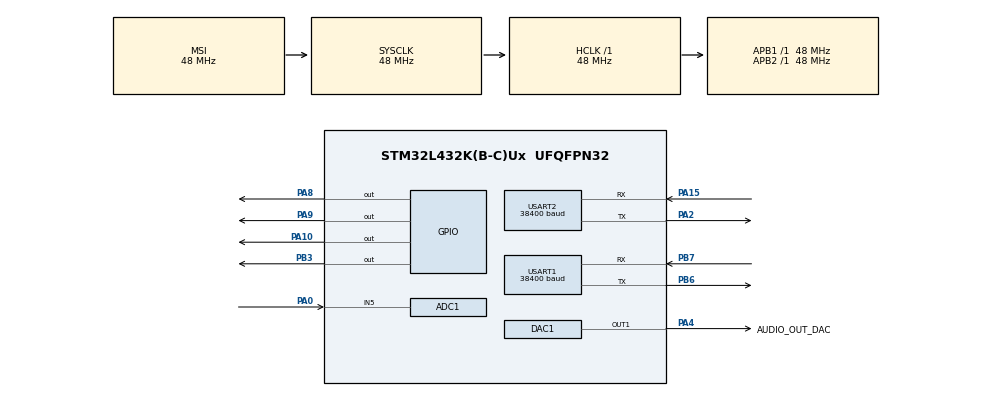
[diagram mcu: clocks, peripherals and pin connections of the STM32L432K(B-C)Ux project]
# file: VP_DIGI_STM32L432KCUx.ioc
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ADC1.Channel-0\#ChannelRegularConversion=ADC_CHANNEL_5
ADC1.ClockPrescaler=ADC_CLOCK_ASYNC_DIV6
ADC1.ContinuousConvMode=ENABLE
ADC1.DMAContinuousRequests=ENABLE
ADC1.NbrOfConversionFlag=1
ADC1.OffsetNumber-0\#ChannelRegularConversion=ADC_OFFSET_NONE
ADC1.Rank-0\#ChannelRegularConversion=1
ADC1.SamplingTime-0\#ChannelRegularConversion=ADC_SAMPLETIME_2CYCLES_5
ADC1.master=1
DAC1.DAC_Trigger-DAC_OUT1=DAC_TRIGGER_T6_TRGO
Dma.ADC1.0.Direction=DMA_PERIPH_TO_MEMORY
Dma.ADC1.0.Instance=DMA1_Channel1
Dma.ADC1.0.MemDataAlignment=DMA_MDATAALIGN_HALFWORD
Dma.ADC1.0.MemInc=DMA_MINC_ENABLE
Dma.ADC1.0.Mode=DMA_CIRCULAR
Dma.ADC1.0.PeriphDataAlignment=DMA_PDATAALIGN_HALFWORD
Dma.ADC1.0.PeriphInc=DMA_PINC_DISABLE
Dma.ADC1.0.Priority=DMA_PRIORITY_LOW
Dma.Request0=ADC1
Mcu.Family=STM32L4
Mcu.Name=STM32L432K(B-C)Ux
Mcu.Package=UFQFPN32
NVIC.DMA1_Channel1_IRQn=true\:0\:0\:false\:false\:true\:false\:true\:true
NVIC.PriorityGroup=NVIC_PRIORITYGROUP_4
NVIC.USART1_IRQn=true\:0\:0\:false\:false\:true\:true\:true\:true
NVIC.USART2_IRQn=true\:0\:0\:false\:false\:true\:true\:true\:true
PA0.Signal=ADCx_IN5
PA10.Signal=GPIO_Output
PA13\ (JTMS-SWDIO).Mode=Serial_Wire
PA13\ (JTMS-SWDIO).Signal=SYS_JTMS-SWDIO
PA14\ (JTCK-SWCLK).Mode=Serial_Wire
PA14\ (JTCK-SWCLK).Signal=SYS_JTCK-SWCLK
PA15\ (JTDI).Mode=Asynchronous
PA15\ (JTDI).Signal=USART2_RX
PA2.Mode=Asynchronous
PA2.Signal=USART2_TX
PA4.GPIO_Label=AUDIO_OUT_DAC
PA4.Signal=COMP_DAC11_group
PA8.Signal=GPIO_Output
PA9.Signal=GPIO_Output
PB3\ (JTDO-TRACESWO).Signal=GPIO_Output
PB6.Mode=Asynchronous
PB6.Signal=USART1_TX
PB7.Mode=Asynchronous
PB7.Signal=USART1_RX
ProjectManager.HeapSize=0x200
ProjectManager.StackSize=0x400
ProjectManager.TargetToolchain=STM32CubeIDE
RCC.ADCCLockSelection=RCC_ADCCLKSOURCE_SYSCLK
RCC.ADCFreq_Value=48000000
RCC.AHBFreq_Value=48000000
RCC.APB1Freq_Value=48000000
RCC.APB1TimFreq_Value=48000000
RCC.APB2Freq_Value=48000000
RCC.APB2TimFreq_Value=48000000
RCC.CortexFreq_Value=48000000
RCC.HCLKFreq_Value=48000000
RCC.HSE_VALUE=8000000
RCC.HSI48_VALUE=48000000
RCC.HSI_VALUE=16000000
RCC.LSE_VALUE=32768
RCC.MSIClockRange=RCC_MSIRANGE_11
RCC.MSI_VALUE=48000000
RCC.PLLSAI1N=16
RCC.PLLSourceVirtual=RCC_PLLSOURCE_HSI
RCC.SYSCLKFreq_VALUE=48000000
RCC.USBFreq_Value=128000000
RCC.VCOOutputFreq_Value=128000000
SH.ADCx_IN5.0=ADC1_IN5,IN5-Single-Ended
SH.COMP_DAC11_group.0=DAC1_OUT1,DAC_OUT1
USART1.BaudRate=38400
USART1.VirtualMode-Asynchronous=VM_ASYNC
USART2.BaudRate=38400
USART2.VirtualMode-Asynchronous=VM_ASYNC
VP_TIM6_VS_ClockSourceINT.Mode=Enable_Timer
VP_TIM7_VS_ClockSourceINT.Mode=Enable_Timer
board=custom

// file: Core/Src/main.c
/* USER CODE BEGIN Header */
/**
  ******************************************************************************
  * @file           : main.c
  * @brief          : Main program body
  ******************************************************************************
  * @attention
  *
  * Copyright (c) 2023 STMicroelectronics.
  * All rights reserved.
  *
  * This software is licensed under terms that can be found in the LICENSE file
  * in the root directory of this software component.
  * If no LICENSE file comes with this software, it is provided AS-IS.
  *
  ******************************************************************************
  */
/* USER CODE END Header */
#include "main.h"

/* USER CODE BEGIN Includes */

#include <string.h>
#include <stdint.h>

#include "drivers/modem.h"
#include "ax25.h"
#include "drivers/uart.h"
#include "drivers/systick.h"
#include "stm32l4xx.h"
#include "digipeater.h"
#include "common.h"
#include "drivers/watchdog.h"
#include "beacon.h"
#include "terminal.h"
#include "config.h"

/* USER CODE END Includes */

ADC_HandleTypeDef hadc1;
DMA_HandleTypeDef hdma_adc1;

DAC_HandleTypeDef hdac1;

TIM_HandleTypeDef htim6;
TIM_HandleTypeDef htim7;

UART_HandleTypeDef huart1;
UART_HandleTypeDef huart2;

void SystemClock_Config(void);
static void MX_GPIO_Init(void);
static void MX_DMA_Init(void);
static void MX_USART2_UART_Init(void);
static void MX_ADC1_Init(void);
static void MX_DAC1_Init(void);
static void MX_USART1_UART_Init(void);
static void MX_TIM6_Init(void);
static void MX_TIM7_Init(void);

/* USER CODE BEGIN 0 */

/**
 * \brief Handle received frame from RF
 */
void handleFrame(void)
{
	uint8_t modemReceived = ax25.frameReceived; //store states
	ax25.frameReceived = 0; //clear flag

	uint8_t bufto[FRAMELEN + 30], buf[FRAMELEN]; //buffer for raw frames to TNC2 frames conversion
	uint16_t bufidx = 0;
	uint16_t i = ax25.frameBufRd;

	while(i != ax25.frameBufWr)
	{
		if(ax25.frameBuf[i] != 0xFF)
		{
			buf[bufidx++] = ax25.frameBuf[i++]; //store frame in temporary buffer
		}
		else
		{
			break;
		}
		i %= (FRAMEBUFLEN);
	}

	ax25.frameBufRd = ax25.frameBufWr;

	for(i = 0; i < (bufidx); i++)
	{
		if(buf[i] & 1)
			break; //look for path end bit
	}

	SendKiss(buf, bufidx); //send KISS frames if ports available

	if(((USBmode == MODE_MONITOR) || (uart1.mode == MODE_MONITOR) || (uart2.mode == MODE_MONITOR)))
	{
		common_toTNC2(buf, bufidx, bufto); //convert to TNC2 format

		//in general, the RMS of the frame is calculated (excluding preamble!)
		//it it calculated from samples ranging from -4095 to 4095 (amplitude of 4095)
		//that should give a RMS of around 2900 for pure sine wave
		//for pure square wave it should be equal to the amplitude (around 4095)
		//real data contains lots of imperfections (especially mark/space amplitude imbalance) and this value is far smaller than 2900 for standard frames
		//division by 9 was selected by trial and error to provide a value of 100(%) when the input signal had peak-peak voltage of 3.3V
		//this probably should be done in a different way, like some peak amplitude tracing
		ax25.sLvl /= 9;

		if(ax25.sLvl > 100)
		{
			term_sendMonitor((uint8_t*)"\r\nInput level too high! Please reduce so most stations are around 50-70%.\r\n", 0);
		}

		if(ax25.sLvl < 10)
		{
			term_sendMonitor((uint8_t*)"\r\nInput level too low! Please increase so most stations are around 50-70%.\r\n", 0);
		}

		term_sendMonitor((uint8_t*)"(AX.25) Frame received [", 0); //show which modem received the frame: [FP] (flat and preemphasized), [FD] (flat and deemphasized - in flat audio input mode)
																   //[F_] (only flat), [_P] (only preemphasized) or [_D] (only deemphasized - in flat audio input mode)
		uint8_t t[2] = {0};
		if(modemReceived & 1)
		{
			t[0] = 'F';
		}
		else
			t[0] = '_';
		if(modemReceived & 2)
		{
			if(afskCfg.flatAudioIn)
				t[1] = 'D';
			else
				t[1] = 'P';
		}
		else
			t[1] = '_';

		term_sendMonitor(t, 2);
		term_sendMonitor((uint8_t*)"], signal level ", 0);
		term_sendMonitorNumber(ax25.sLvl);
		term_sendMonitor((uint8_t*)"%: ", 0);

		term_sendMonitor(bufto, 0);
		term_sendMonitor((uint8_t*)"\r\n", 0);

	}

	if(digi.enable)
	{
		Digi_digipeat(buf, bufidx);
	}

}

/* USER CODE END 0 */

int main(void)
{

  /* MCU Configuration--------------------------------------------------------*/

  /* Reset of all peripherals, Initializes the Flash interface and the Systick. */
  HAL_Init();

  /* Configure the system clock */
  SystemClock_Config();

  /* USER CODE BEGIN SysInit */

  // no idea what this does, but it makes HAL_Delay(250) take 1000ms
#if SET_THIS_DEFINE_MACRO_TO_ENABLE_SYSTICK_AND_BREAK_THE_PROJECT_LMAO // a simple `#if 0` doesn't do my hours of debugging justice
  SysTick_init();
#endif
  // TODO: confirm this isn't important

#ifdef FEATURE_USB_SUPPORT
  //force usb re-enumeration after reset
  RCC->APB2ENR |= RCC_APB2ENR_IOPAEN; //pull D+ to ground for a moment
  GPIOA->CRH |= GPIO_CRH_MODE12_1;
  GPIOA->CRH &= ~GPIO_CRH_CNF12;
  GPIOA->BSRR = GPIO_BSRR_BR12;
  uint32_t t = ticks + 10;
  while(t > ticks);;
  GPIOA->CRH &= ~GPIO_CRH_MODE12;
  GPIOA->CRH |= GPIO_CRH_CNF12_0;

  #endif /* FEATURE_USB_SUPPORT */

  /* USER CODE END SysInit */

  /* Initialize all configured peripherals */
  MX_GPIO_Init();
  MX_DMA_Init();
  MX_USART2_UART_Init();
  MX_ADC1_Init();
  MX_DAC1_Init();
  MX_USART1_UART_Init();
  MX_TIM6_Init();
  MX_TIM7_Init();
  /* USER CODE BEGIN 2 */

	Wdog_init(); //initialize watchdog

	//set some initial values in case there is no configuration saved in memory
	uart1.baudrate = 38400;
	uart2.baudrate = 38400;
	afskCfg.usePWM = 1; // 1 = use PWM, 0 = use R2R
	afskCfg.flatAudioIn = 0;
	ax25Cfg.quietTime = 300;
	ax25Cfg.txDelayLength = 300;
	ax25Cfg.txTailLength = 30;
	digi.dupeTime = 30;

#if 0
	Config_read();

	Ax25_init();
#endif

#if 0
	uart_init(&uart1, USART1, uart1.baudrate);
	uart_init(&uart2, USART2, uart2.baudrate);
#endif

	// added: simple print UART
	uint8_t msg1[255];
	sprintf(msg1, "Booting vp-digi on L432.\n");
	HAL_UART_Transmit(&huart2, msg1, strlen(msg1), 100);

	uart_config(&uart1, 1); // disabled within
	uart_config(&uart2, 1); // disabled within

	HAL_GPIO_WritePin(GPIOA, GPIO_PIN_8, GPIO_PIN_SET); // FIXME remove this section
	HAL_Delay(1000);
	HAL_GPIO_WritePin(GPIOA, GPIO_PIN_8, GPIO_PIN_RESET); // FIXME
	HAL_Delay(1000);

#if 0
	Afsk_init();
	Beacon_init();
#endif

	autoResetTimer = autoReset * 360000;

	// force enable interupts (from the uart.c file)
	// USART2->CR1 |= USART_CR1_RXNEIE | USART_CR1_TE | USART_CR1_RE | USART_CR1_UE | USART_CR1_IDLEIE;
	NVIC_SetPriority(USART2_IRQn, 2);
	NVIC_EnableIRQ(USART2_IRQn);

  /* USER CODE END 2 */

  /* Infinite loop */
  /* USER CODE BEGIN WHILE */
  // static uint32_t usbKissTimer = 0;
  uint16_t main_loop_counter = 0;

  while (1)
  {

    /* USER CODE END WHILE */

    /* USER CODE BEGIN 3 */

	  HAL_GPIO_WritePin(GPIOB, GPIO_PIN_3, GPIO_PIN_SET); // flash LED
	  HAL_Delay(250);
	  HAL_GPIO_WritePin(GPIOB, GPIO_PIN_3, GPIO_PIN_RESET); // flash LED
	  HAL_Delay(250);

	  // added: simple print UART
	  	uint8_t msg1[255];
	  	sprintf(msg1, "Running vp-digi loop on L432, #%d\n", main_loop_counter++);
	  	HAL_UART_Transmit(&huart2, msg1, strlen(msg1), 100);

#if 0
		  uint8_t rxBuffer[1];
		    HAL_UART_Receive(&huart2, rxBuffer, 1, HAL_MAX_DELAY);
		    HAL_UART_Transmit(&huart2, rxBuffer, 1, HAL_MAX_DELAY);
		    rxBuffer[0] = '!';
		    HAL_UART_Transmit(&huart2, rxBuffer, 1, HAL_MAX_DELAY); // print back another exclam for good measure
#endif

    	  Wdog_reset(); // core crashes if you don't call this function; executes in no time

#if 0
	  if(ax25.frameReceived)
		  handleFrame();

	  Digi_viscousRefresh(); //refresh viscous-delay buffers

	  Ax25_transmitBuffer(); //transmit buffer (will return if nothing to be transmitted)

	  Ax25_transmitCheck(); //check for pending transmission request
#endif

#ifdef FEATURE_USB_SUPPORT
	  if(USBint) //USB "interrupt"
	  {
		  USBint = 0; //clear

		  if(USBmode == MODE_KISS) //is USB in KISS mode?
			  usbKissTimer = ticks + 500; //set timeout to 5s

		  term_handleSpecial(TERM_USB); //handle special characters (e.g. backspace)
		  if((usbcdcdata[0] == 0xc0) && /*(usbcdcdata[1] == 0x00) &&*/ (usbcdcdata[usbcdcidx - 1] == 0xc0)) //probably a KISS frame
		  {
			  USBrcvd = DATA_KISS;
			  usbKissTimer = 0;
		  }

		  if(((usbcdcdata[usbcdcidx - 1] == '\r') || (usbcdcdata[usbcdcidx - 1] == '\n'))) //proabably a command
		  {
			  USBrcvd = DATA_TERM;
			  usbKissTimer = 0;
		  }
	  }

	  if((usbKissTimer > 0) && (ticks >= usbKissTimer)) //USB KISS timer timeout
	  {
		  usbcdcidx = 0;
		  memset(usbcdcdata, 0, UARTBUFLEN);
		  usbKissTimer = 0;
	  }

	  if(USBrcvd != DATA_NOTHING)
	  {
		  term_parse(usbcdcdata, usbcdcidx, TERM_USB, USBrcvd, USBmode);
		  USBrcvd = DATA_NOTHING;
		  usbcdcidx = 0;
		  memset(usbcdcdata, 0, UARTBUFLEN);
	  }
#endif /* FEATURE_USB_SUPPORT */
#if 0
	  if(uart1.rxflag != DATA_NOTHING)
	  {
		  term_parse(uart1.bufrx, uart1.bufrxidx, TERM_UART1, uart1.rxflag, uart1.mode);
		  uart1.rxflag = DATA_NOTHING;
		  uart1.bufrxidx = 0;
		  memset(uart1.bufrx, 0, UARTBUFLEN);
	  }

	  if(uart2.rxflag != DATA_NOTHING)
	  {
		  term_parse(uart2.bufrx, uart2.bufrxidx, TERM_UART2, uart2.rxflag, uart2.mode);
		  uart2.rxflag = DATA_NOTHING;
		  uart2.bufrxidx = 0;
		  memset(uart2.bufrx, 0, UARTBUFLEN);
	  }
#endif

//	  HAL_UART_StateTypeDef uart2_rx_status = HAL_UART_Receive(uart2.port, uart2.bufrx, UARTBUFLEN, 100);
//
//  // sprintf the uart2_rx_status
//  uint8_t msg2[255];
//  sprintf(msg2, "UART2 RX status: %02X\n", uart2_rx_status);
//  HAL_UART_Transmit(&huart2, msg2, 250, 100);
//
//  // FIXME: don't hard code these; do it the same way as the interrupt
  uart2.rxflag = DATA_TERM;
  uart2.mode = MODE_MONITOR;

  // call term_parse
	  uint8_t rx_buf_test_version[] = "help";
  term_parse(rx_buf_test_version, strlen(rx_buf_test_version), TERM_UART2, uart2.rxflag, uart2.mode);

  // FIXME: first, start here, and come up with a way to test this better

#if 0
	  Beacon_check(); //check beacons

	  if(((autoResetTimer != 0) && (ticks > autoResetTimer)) || (ticks > 4294960000))
		  NVIC_SystemReset();
#endif

  }
  /* USER CODE END 3 */
}

void SystemClock_Config(void)
{
  RCC_OscInitTypeDef RCC_OscInitStruct = {0};
  RCC_ClkInitTypeDef RCC_ClkInitStruct = {0};

  /** Configure the main internal regulator output voltage
  */
  if (HAL_PWREx_ControlVoltageScaling(PWR_REGULATOR_VOLTAGE_SCALE1) != HAL_OK)
  {
    Error_Handler();
  }

  /** Initializes the RCC Oscillators according to the specified parameters
  * in the RCC_OscInitTypeDef structure.
  */
  RCC_OscInitStruct.OscillatorType = RCC_OSCILLATORTYPE_MSI;
  RCC_OscInitStruct.MSIState = RCC_MSI_ON;
  RCC_OscInitStruct.MSICalibrationValue = 0;
  RCC_OscInitStruct.MSIClockRange = RCC_MSIRANGE_11;
  RCC_OscInitStruct.PLL.PLLState = RCC_PLL_NONE;
  if (HAL_RCC_OscConfig(&RCC_OscInitStruct) != HAL_OK)
  {
    Error_Handler();
  }

  /** Initializes the CPU, AHB and APB buses clocks
  */
  RCC_ClkInitStruct.ClockType = RCC_CLOCKTYPE_HCLK|RCC_CLOCKTYPE_SYSCLK
                              |RCC_CLOCKTYPE_PCLK1|RCC_CLOCKTYPE_PCLK2;
  RCC_ClkInitStruct.SYSCLKSource = RCC_SYSCLKSOURCE_MSI;
  RCC_ClkInitStruct.AHBCLKDivider = RCC_SYSCLK_DIV1;
  RCC_ClkInitStruct.APB1CLKDivider = RCC_HCLK_DIV1;
  RCC_ClkInitStruct.APB2CLKDivider = RCC_HCLK_DIV1;

  if (HAL_RCC_ClockConfig(&RCC_ClkInitStruct, FLASH_LATENCY_2) != HAL_OK)
  {
    Error_Handler();
  }
}

static void MX_ADC1_Init(void)
{

  ADC_ChannelConfTypeDef sConfig = {0};

  /** Common config
  */
  hadc1.Instance = ADC1;
  hadc1.Init.ClockPrescaler = ADC_CLOCK_ASYNC_DIV6;
  hadc1.Init.Resolution = ADC_RESOLUTION_12B;
  hadc1.Init.DataAlign = ADC_DATAALIGN_RIGHT;
  hadc1.Init.ScanConvMode = ADC_SCAN_DISABLE;
  hadc1.Init.EOCSelection = ADC_EOC_SINGLE_CONV;
  hadc1.Init.LowPowerAutoWait = DISABLE;
  hadc1.Init.ContinuousConvMode = ENABLE;
  hadc1.Init.NbrOfConversion = 1;
  hadc1.Init.DiscontinuousConvMode = DISABLE;
  hadc1.Init.ExternalTrigConv = ADC_SOFTWARE_START;
  hadc1.Init.ExternalTrigConvEdge = ADC_EXTERNALTRIGCONVEDGE_NONE;
  hadc1.Init.DMAContinuousRequests = ENABLE;
  hadc1.Init.Overrun = ADC_OVR_DATA_PRESERVED;
  hadc1.Init.OversamplingMode = DISABLE;
  if (HAL_ADC_Init(&hadc1) != HAL_OK)
  {
    Error_Handler();
  }

  /** Configure Regular Channel
  */
  sConfig.Channel = ADC_CHANNEL_5;
  sConfig.Rank = ADC_REGULAR_RANK_1;
  sConfig.SamplingTime = ADC_SAMPLETIME_2CYCLES_5;
  sConfig.SingleDiff = ADC_SINGLE_ENDED;
  sConfig.OffsetNumber = ADC_OFFSET_NONE;
  sConfig.Offset = 0;
  if (HAL_ADC_ConfigChannel(&hadc1, &sConfig) != HAL_OK)
  {
    Error_Handler();
  }

}

static void MX_DAC1_Init(void)
{

  DAC_ChannelConfTypeDef sConfig = {0};

  /** DAC Initialization
  */
  hdac1.Instance = DAC1;
  if (HAL_DAC_Init(&hdac1) != HAL_OK)
  {
    Error_Handler();
  }

  /** DAC channel OUT1 config
  */
  sConfig.DAC_SampleAndHold = DAC_SAMPLEANDHOLD_DISABLE;
  sConfig.DAC_Trigger = DAC_TRIGGER_T6_TRGO;
  sConfig.DAC_OutputBuffer = DAC_OUTPUTBUFFER_ENABLE;
  sConfig.DAC_ConnectOnChipPeripheral = DAC_CHIPCONNECT_DISABLE;
  sConfig.DAC_UserTrimming = DAC_TRIMMING_FACTORY;
  if (HAL_DAC_ConfigChannel(&hdac1, &sConfig, DAC_CHANNEL_1) != HAL_OK)
  {
    Error_Handler();
  }

}

static void MX_TIM6_Init(void)
{

  TIM_MasterConfigTypeDef sMasterConfig = {0};

  htim6.Instance = TIM6;
  htim6.Init.Prescaler = 0;
  htim6.Init.CounterMode = TIM_COUNTERMODE_UP;
  htim6.Init.Period = 65535;
  htim6.Init.AutoReloadPreload = TIM_AUTORELOAD_PRELOAD_DISABLE;
  if (HAL_TIM_Base_Init(&htim6) != HAL_OK)
  {
    Error_Handler();
  }
  sMasterConfig.MasterOutputTrigger = TIM_TRGO_RESET;
  sMasterConfig.MasterSlaveMode = TIM_MASTERSLAVEMODE_DISABLE;
  if (HAL_TIMEx_MasterConfigSynchronization(&htim6, &sMasterConfig) != HAL_OK)
  {
    Error_Handler();
  }

}

static void MX_TIM7_Init(void)
{

  TIM_MasterConfigTypeDef sMasterConfig = {0};

  htim7.Instance = TIM7;
  htim7.Init.Prescaler = 0;
  htim7.Init.CounterMode = TIM_COUNTERMODE_UP;
  htim7.Init.Period = 65535;
  htim7.Init.AutoReloadPreload = TIM_AUTORELOAD_PRELOAD_DISABLE;
  if (HAL_TIM_Base_Init(&htim7) != HAL_OK)
  {
    Error_Handler();
  }
  sMasterConfig.MasterOutputTrigger = TIM_TRGO_RESET;
  sMasterConfig.MasterSlaveMode = TIM_MASTERSLAVEMODE_DISABLE;
  if (HAL_TIMEx_MasterConfigSynchronization(&htim7, &sMasterConfig) != HAL_OK)
  {
    Error_Handler();
  }

}

static void MX_USART1_UART_Init(void)
{

  huart1.Instance = USART1;
  huart1.Init.BaudRate = 38400;
  huart1.Init.WordLength = UART_WORDLENGTH_8B;
  huart1.Init.StopBits = UART_STOPBITS_1;
  huart1.Init.Parity = UART_PARITY_NONE;
  huart1.Init.Mode = UART_MODE_TX_RX;
  huart1.Init.HwFlowCtl = UART_HWCONTROL_NONE;
  huart1.Init.OverSampling = UART_OVERSAMPLING_16;
  huart1.Init.OneBitSampling = UART_ONE_BIT_SAMPLE_DISABLE;
  huart1.AdvancedInit.AdvFeatureInit = UART_ADVFEATURE_NO_INIT;
  if (HAL_UART_Init(&huart1) != HAL_OK)
  {
    Error_Handler();
  }

}

static void MX_USART2_UART_Init(void)
{

  huart2.Instance = USART2;
  huart2.Init.BaudRate = 38400;
  huart2.Init.WordLength = UART_WORDLENGTH_8B;
  huart2.Init.StopBits = UART_STOPBITS_1;
  huart2.Init.Parity = UART_PARITY_NONE;
  huart2.Init.Mode = UART_MODE_TX_RX;
  huart2.Init.HwFlowCtl = UART_HWCONTROL_NONE;
  huart2.Init.OverSampling = UART_OVERSAMPLING_16;
  huart2.Init.OneBitSampling = UART_ONE_BIT_SAMPLE_DISABLE;
  huart2.AdvancedInit.AdvFeatureInit = UART_ADVFEATURE_NO_INIT;
  if (HAL_UART_Init(&huart2) != HAL_OK)
  {
    Error_Handler();
  }

}

static void MX_DMA_Init(void)
{

  /* DMA controller clock enable */
  __HAL_RCC_DMA1_CLK_ENABLE();

  /* DMA interrupt init */
  /* DMA1_Channel1_IRQn interrupt configuration */
  HAL_NVIC_SetPriority(DMA1_Channel1_IRQn, 0, 0);
  HAL_NVIC_EnableIRQ(DMA1_Channel1_IRQn);

}

static void MX_GPIO_Init(void)
{
  GPIO_InitTypeDef GPIO_InitStruct = {0};

  /* GPIO Ports Clock Enable */
  __HAL_RCC_GPIOA_CLK_ENABLE();
  __HAL_RCC_GPIOB_CLK_ENABLE();

  /*Configure GPIO pin Output Level */
  HAL_GPIO_WritePin(GPIOA, GPIO_PIN_8|GPIO_PIN_9|GPIO_PIN_10, GPIO_PIN_RESET);

  /*Configure GPIO pin Output Level */
  HAL_GPIO_WritePin(GPIOB, GPIO_PIN_3, GPIO_PIN_RESET);

  /*Configure GPIO pins : PA8 PA9 PA10 */
  GPIO_InitStruct.Pin = GPIO_PIN_8|GPIO_PIN_9|GPIO_PIN_10;
  GPIO_InitStruct.Mode = GPIO_MODE_OUTPUT_PP;
  GPIO_InitStruct.Pull = GPIO_NOPULL;
  GPIO_InitStruct.Speed = GPIO_SPEED_FREQ_LOW;
  HAL_GPIO_Init(GPIOA, &GPIO_InitStruct);

  /*Configure GPIO pin : PB3 */
  GPIO_InitStruct.Pin = GPIO_PIN_3;
  GPIO_InitStruct.Mode = GPIO_MODE_OUTPUT_PP;
  GPIO_InitStruct.Pull = GPIO_NOPULL;
  GPIO_InitStruct.Speed = GPIO_SPEED_FREQ_LOW;
  HAL_GPIO_Init(GPIOB, &GPIO_InitStruct);

}

void Error_Handler(void)
{
  __disable_irq();
  while (1)
  {
  }
}
